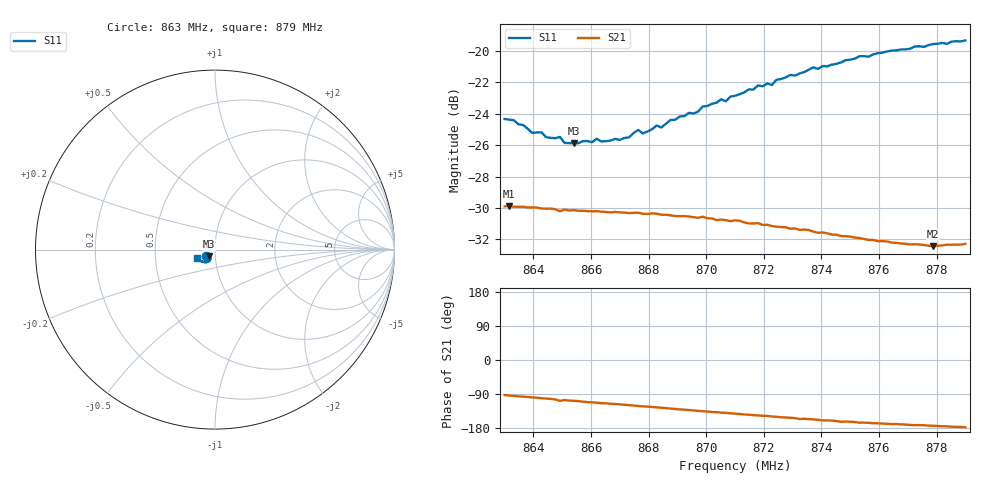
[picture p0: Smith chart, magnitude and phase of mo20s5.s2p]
# HZ S RI R 50
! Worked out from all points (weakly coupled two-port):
!   101 points, 863 MHz to 879 MHz, reference 50 ohm
!   highest |S21| = -29.88 dB at 863.16 MHz (marker M1); lowest = -32.4 dB at 877.88 MHz (marker M2)
!   lowest |S11| = -25.9 dB at 865.4 MHz (marker M3), VSWR 1.11, Z = 46.6 - j3.51 ohm
!   |S11| at or under -10 dB: start of sweep to end of sweep
!   S12 and S22 are empty: the file has one direction only
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8.63e8  -0.0488 -0.0361  -0.00132 -0.032  0 0  0 0
8.6316e8  -0.0476 -0.0372  -0.00214 -0.032  0 0  0 0
8.6396e8  -0.0412 -0.0361  -0.00486 -0.0314  0 0  0 0
8.6428e8  -0.0396 -0.0382  -0.00592 -0.0309  0 0  0 0
8.6444e8  -0.0394 -0.0357  -0.00643 -0.0308  0 0  0 0
8.6492e8  -0.0372 -0.0381  -0.00941 -0.0294  0 0  0 0
8.6508e8  -0.0343 -0.0376  -0.00851 -0.0301  0 0  0 0
8.654e8  -0.0342 -0.0376  -0.00946 -0.0296  0 0  0 0
8.6572e8  -0.0319 -0.0406  -0.0106 -0.0291  0 0  0 0
8.67e8  -0.0277 -0.0441  -0.0139 -0.0273  0 0  0 0
8.6764e8  -0.0279 -0.0486  -0.0158 -0.0261  0 0  0 0
8.678e8  -0.0269 -0.0475  -0.0162 -0.0256  0 0  0 0
8.6828e8  -0.0269 -0.0512  -0.0174 -0.0249  0 0  0 0
8.6844e8  -0.0261 -0.0507  -0.0177 -0.0243  0 0  0 0
8.6876e8  -0.0263 -0.0542  -0.0185 -0.0235  0 0  0 0
8.71e8  -0.0331 -0.0639  -0.0226 -0.018  0 0  0 0
8.718e8  -0.0397 -0.0667  -0.0235 -0.0157  0 0  0 0
8.7228e8  -0.0409 -0.0663  -0.0238 -0.0142  0 0  0 0
8.7372e8  -0.0528 -0.0712  -0.0244 -0.0105  0 0  0 0
8.7644e8  -0.0762 -0.0651  -0.0241 -0.00465  0 0  0 0
8.7788e8  -0.0892 -0.0558  -0.0237 -0.0027  0 0  0 0
8.79e8  -0.0976 -0.0462  -0.0243 -0.000881  0 0  0 0
